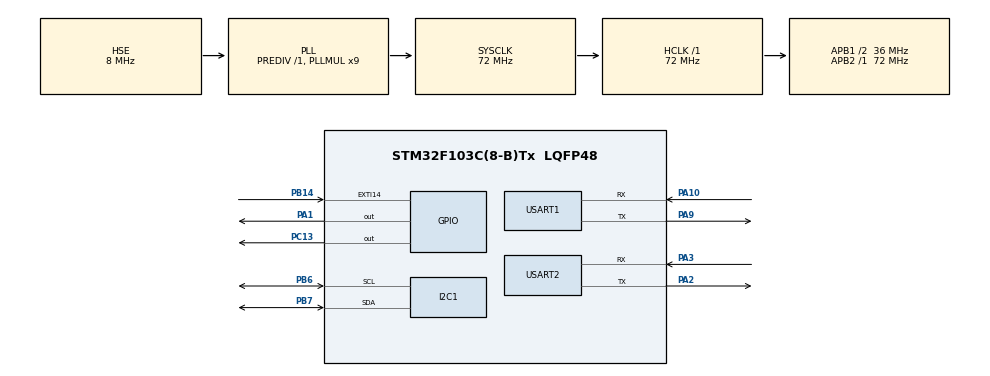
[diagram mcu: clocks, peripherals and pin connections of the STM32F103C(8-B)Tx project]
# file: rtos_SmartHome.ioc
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Mcu.Family=STM32F1
Mcu.Name=STM32F103C(8-B)Tx
Mcu.Package=LQFP48
NVIC.EXTI15_10_IRQn=true\:0\:0\:false\:false\:true\:true\:true\:true
NVIC.PriorityGroup=NVIC_PRIORITYGROUP_4
NVIC.TIM4_IRQn=true\:15\:0\:false\:false\:true\:false\:true\:true
NVIC.TimeBase=TIM4_IRQn
NVIC.TimeBaseIP=TIM4
NVIC.USART1_IRQn=true\:0\:0\:false\:false\:true\:true\:true\:true
NVIC.USART2_IRQn=true\:0\:0\:false\:false\:true\:true\:true\:true
PA1.GPIO_ModeDefaultOutputPP=GPIO_MODE_OUTPUT_OD
PA1.GPIO_PuPd=GPIO_PULLUP
PA1.Signal=GPIO_Output
PA10.Mode=Asynchronous
PA10.Signal=USART1_RX
PA13.Mode=Serial_Wire
PA13.Signal=SYS_JTMS-SWDIO
PA14.Mode=Serial_Wire
PA14.Signal=SYS_JTCK-SWCLK
PA2.Mode=Asynchronous
PA2.Signal=USART2_TX
PA3.Mode=Asynchronous
PA3.Signal=USART2_RX
PA9.Mode=Asynchronous
PA9.Signal=USART1_TX
PB14.GPIO_ModeDefaultEXTI=GPIO_MODE_IT_FALLING
PB14.GPIO_PuPd=GPIO_PULLUP
PB14.Signal=GPXTI14
PB6.Mode=I2C
PB6.Signal=I2C1_SCL
PB7.Mode=I2C
PB7.Signal=I2C1_SDA
PC13-TAMPER-RTC.Signal=GPIO_Output
PD0-OSC_IN.Mode=HSE-External-Oscillator
PD0-OSC_IN.Signal=RCC_OSC_IN
PD1-OSC_OUT.Mode=HSE-External-Oscillator
PD1-OSC_OUT.Signal=RCC_OSC_OUT
ProjectManager.HeapSize=0x200
ProjectManager.StackSize=0x400
ProjectManager.TargetToolchain=MDK-ARM V5.32
RCC.AHBFreq_Value=72000000
RCC.APB1CLKDivider=RCC_HCLK_DIV2
RCC.APB1Freq_Value=36000000
RCC.APB1TimFreq_Value=72000000
RCC.APB2Freq_Value=72000000
RCC.APB2TimFreq_Value=72000000
RCC.HCLKFreq_Value=72000000
RCC.PLLMUL=RCC_PLL_MUL9
RCC.PLLSourceVirtual=RCC_PLLSOURCE_HSE
RCC.SYSCLKFreq_VALUE=72000000
RCC.SYSCLKSource=RCC_SYSCLKSOURCE_PLLCLK
RCC.USBFreq_Value=72000000
USART1.VirtualMode=VM_ASYNC
USART2.VirtualMode=VM_ASYNC
VP_SYS_VS_tim4.Mode=TIM4
board=custom

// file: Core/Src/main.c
/* USER CODE BEGIN Header */
/**
  ******************************************************************************
  * @file           : main.c
  * @brief          : Main program body
  ******************************************************************************
  * @attention
  *
  * Copyright (c) 2024 STMicroelectronics.
  * All rights reserved.
  *
  * This software is licensed under terms that can be found in the LICENSE file
  * in the root directory of this software component.
  * If no LICENSE file comes with this software, it is provided AS-IS.
  *
  ******************************************************************************
  */
/* USER CODE END Header */
#include "main.h"
#include "i2c.h"
#include "usart.h"
#include "gpio.h"

/* USER CODE BEGIN Includes */
//MCU
#include "driver_uart.h"
#include "driver_lcd.h"
#include "driver_uart.h"
#include "driver_key.h"
#include "driver_led.h"
#include "driver_oled.h"
#include "driver_timer.h"
#include "driver_dht11.h"

//net
#include "onenet.h"

//device
#include "esp8266.h"

//c

#include <string.h>
#include "stdio.h"
/* USER CODE END Includes */

/* USER CODE BEGIN PD */
#define ESP8266_ONENET_INFO		"AT+CIPSTART=\"TCP\",\"mqtts.heclouds.com\",1883\r\n"
/* USER CODE END PD */

/* USER CODE BEGIN PV */
int temp,hum;
/* USER CODE END PV */

void SystemClock_Config(void);
/* USER CODE BEGIN PFP */

void Refresh_Data(void);

void Display_Init(void);
/* USER CODE END PFP */

int main(void)
{

  /* MCU Configuration--------------------------------------------------------*/

  /* Reset of all peripherals, Initializes the Flash interface and the Systick. */
  HAL_Init();

  /* Configure the system clock */
  SystemClock_Config();

  /* Initialize all configured peripherals */
  MX_GPIO_Init();
  MX_I2C1_Init();
  MX_USART1_UART_Init();
  MX_USART2_UART_Init();
  /* USER CODE BEGIN 2 */

	OLED_Init();
	ESP8266_Init();
	unsigned short timeCount = 0;	//发送间隔变量
	unsigned char *dataPtr = NULL;
	Led_Control(LED_GREEN, 0);

	printf( "Connect MQTTs Server...\r\n");
	OLED_Clear();
	OLED_PrintString(0,0,"Connect MQTTs Server...");

	while(ESP8266_SendCmd(ESP8266_ONENET_INFO, "CONNECT"))
		mdelay(500);
	printf( "Connect MQTTs Server Success\r\n");
	OLED_PrintString(0,0,"Connect MQTTs Server Success");

	OLED_Clear();
	OLED_PrintString(0,0,"Device login...");

	while(OneNet_DevLink())			//接入OneNET
		mdelay(500);

	OneNET_Subscribe();
	Display_Init();
	//printf( "temp %d ,humi %d\r\n",temp,hum);

  /* USER CODE END 2 */

  /* Infinite loop */
  while (1)
  {

    /* USER CODE BEGIN 3 */

//		DHT11_Read_Data(&temp,&humi);

		if(++timeCount >= 30)									//发送间隔0.5s
		{
			//printf( "temp %d ,humi %d\r\n",temp,hum);
			DHT11_Read(&hum,&temp);

//			UsartPrintf(USART_DEBUG, "OneNet_SendData\r\n");
			OneNet_SendData();									//发送数据

			timeCount = 0;
			ESP8266_Clear();

		}

		//接收数据（原始数据）
		dataPtr = ESP8266_GetIPD(0);
		if(dataPtr != NULL)
			//解析数据
			OneNet_RevPro(dataPtr);

		Refresh_Data();

		mdelay(10);

  }
  /* USER CODE END 3 */
}

void SystemClock_Config(void)
{
  RCC_OscInitTypeDef RCC_OscInitStruct = {0};
  RCC_ClkInitTypeDef RCC_ClkInitStruct = {0};

  /** Initializes the RCC Oscillators according to the specified parameters
  * in the RCC_OscInitTypeDef structure.
  */
  RCC_OscInitStruct.OscillatorType = RCC_OSCILLATORTYPE_HSE;
  RCC_OscInitStruct.HSEState = RCC_HSE_ON;
  RCC_OscInitStruct.HSEPredivValue = RCC_HSE_PREDIV_DIV1;
  RCC_OscInitStruct.HSIState = RCC_HSI_ON;
  RCC_OscInitStruct.PLL.PLLState = RCC_PLL_ON;
  RCC_OscInitStruct.PLL.PLLSource = RCC_PLLSOURCE_HSE;
  RCC_OscInitStruct.PLL.PLLMUL = RCC_PLL_MUL9;
  if (HAL_RCC_OscConfig(&RCC_OscInitStruct) != HAL_OK)
  {
    Error_Handler();
  }

  /** Initializes the CPU, AHB and APB buses clocks
  */
  RCC_ClkInitStruct.ClockType = RCC_CLOCKTYPE_HCLK|RCC_CLOCKTYPE_SYSCLK
                              |RCC_CLOCKTYPE_PCLK1|RCC_CLOCKTYPE_PCLK2;
  RCC_ClkInitStruct.SYSCLKSource = RCC_SYSCLKSOURCE_PLLCLK;
  RCC_ClkInitStruct.AHBCLKDivider = RCC_SYSCLK_DIV1;
  RCC_ClkInitStruct.APB1CLKDivider = RCC_HCLK_DIV2;
  RCC_ClkInitStruct.APB2CLKDivider = RCC_HCLK_DIV1;

  if (HAL_RCC_ClockConfig(&RCC_ClkInitStruct, FLASH_LATENCY_2) != HAL_OK)
  {
    Error_Handler();
  }
}

/* USER CODE BEGIN 4 */

void Display_Init(void)
{

 	OLED_Clear();

	OLED_ShowChinese(0,0,1);//温
	OLED_ShowChinese(18,0,2);//度
	OLED_ShowChinese(36,0,0);//：
	OLED_ShowChinese(90,0,3);//℃

	OLED_ShowChinese(0,3,4);//湿
	OLED_ShowChinese(18,3,5);//度
	OLED_ShowChinese(36,3,0);//：
	OLED_PrintString(12,3,"%");//%

	OLED_ShowChinese(0,6,6);//台
	OLED_ShowChinese(18,6,7);//灯
	OLED_ShowChinese(36,6,0);//：

}

void Refresh_Data(void)
{
	char buf[3];
	sprintf(buf, "%2d", temp);
	OLED_PrintString(7,0,buf); //温度值

	sprintf(buf, "%2d", hum);
	OLED_PrintString(7,3,buf); //湿度值

	if(led_info.Led_Status) OLED_ShowChinese(54,6,8);//亮
	else OLED_ShowChinese(54,6,9);//灭

}

/* USER CODE END 4 */

void HAL_TIM_PeriodElapsedCallback(TIM_HandleTypeDef *htim)
{
  if (htim->Instance == TIM4) {
    HAL_IncTick();
  }
}

void Error_Handler(void)
{
  __disable_irq();
  while (1)
  {
  }
}
